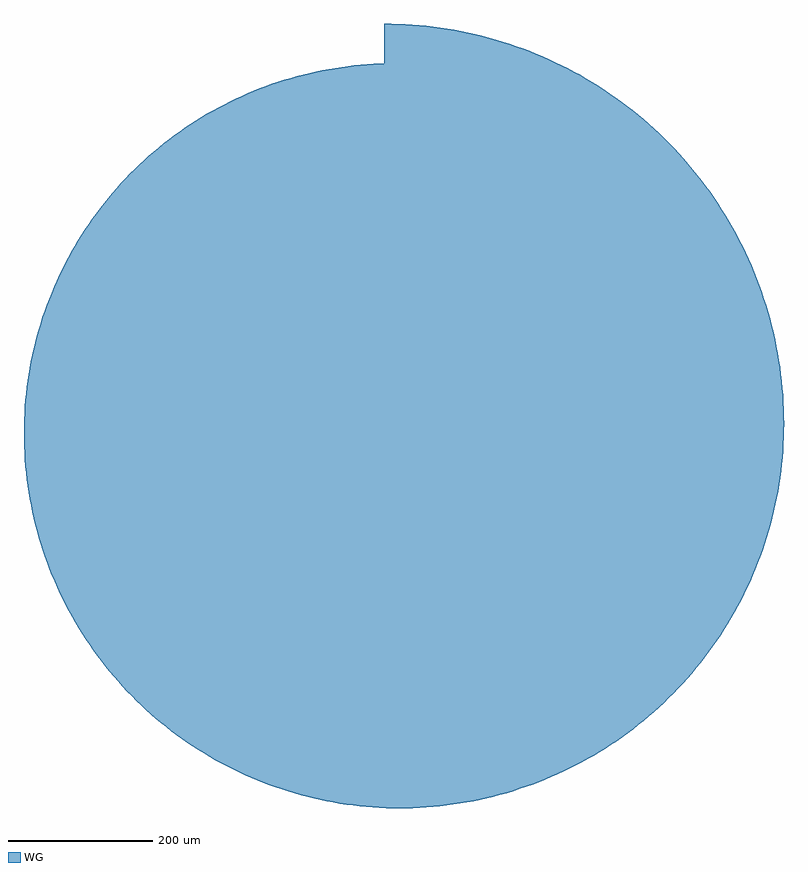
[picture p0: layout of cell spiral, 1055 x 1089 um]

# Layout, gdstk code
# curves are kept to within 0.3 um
from math import pi, radians
import gdstk
lib = gdstk.Library(unit=1e-6, precision=1e-09)
def P(c, l, *ps):  # polygons
    for p in ps: c.add(gdstk.Polygon(p, *l))
WG = (1, 0)

bend_circular_w1000_r100 = lib.new_cell('bend_circular_W1000_R1000_LWG_ENone_A90_AS1')
P(bend_circular_w1000_r100, WG, [(0,-500),(0,1),(-499,1),(-498.301,27.409),(-496.205,53.744),(-492.718,79.931),(-489.625,97.27),(-485.923,114.49),(-479.236,140.047),(-471.205,165.215),(-461.854,189.923),(-454.899,206.105),(-443.407,229.892),(-430.671,253.038),(-416.729,275.477),(-401.619,297.148),(-385.383,317.988),(-368.067,337.939),(-355.946,350.719),(-336.939,369.067),(-316.988,386.383),(-296.148,402.619),(-281.789,412.82),(-259.599,427.156),(-236.682,440.298),(-221.031,448.377),(-197.045,459.448),(-172.506,469.234),(-147.484,477.707),(-130.568,482.615),(-104.896,488.85),(-78.931,493.718),(-52.744,497.205),(-26.409,499.301),(0,500),(0,1),(501,1),(500.298,-25.515),(498.194,-51.955),(494.693,-78.247),(491.588,-95.656),(485.784,-121.537),(478.618,-147.075),(473.094,-163.874),(463.705,-188.68),(453.017,-212.955),(441.059,-236.631),(432.398,-252.048),(418.399,-274.578),(408.413,-289.172),(392.484,-310.38),(375.455,-330.715),(357.373,-350.121),(338.29,-368.542),(318.258,-385.927),(304.405,-396.918),(282.919,-412.471),(260.64,-426.864),(237.631,-440.059),(213.955,-452.017),(189.68,-462.705),(164.874,-472.094),(148.075,-477.618),(122.537,-484.784),(96.656,-490.588),(79.247,-493.693),(52.955,-497.194),(26.515,-499.298)])

bend_circular_w1000_r200 = lib.new_cell('bend_circular_W1000_R2000_LWG_ENone_A90_AS1')
P(bend_circular_w1000_r200, WG, [(0,-500),(0,2),(-498,2),(-497.69,19.575),(-496.062,45.89),(-493.044,72.082),(-488.644,98.077),(-482.875,123.803),(-475.752,149.188),(-470.261,165.886),(-460.928,190.544),(-450.304,214.674),(-438.418,238.208),(-425.302,261.079),(-415.894,275.927),(-405.968,290.434),(-390.134,311.515),(-373.206,331.729),(-355.233,351.018),(-336.264,369.329),(-323.091,380.967),(-302.582,397.535),(-281.225,412.995),(-259.079,427.302),(-236.208,440.418),(-220.588,448.481),(-196.65,459.529),(-172.16,469.295),(-147.188,477.752),(-121.803,484.875),(-104.686,488.873),(-78.772,493.731),(-52.638,497.21),(-26.356,499.302),(0,500),(0,2),(502,2),(501.687,-15.716),(500.047,-42.243),(497.004,-68.645),(492.569,-94.849),(486.753,-120.782),(482.117,-137.883),(474.038,-163.203),(464.631,-188.059),(453.921,-212.382),(441.939,-236.105),(433.261,-251.553),(419.234,-274.128),(404.033,-295.928),(387.7,-316.893),(376.204,-330.377),(358.086,-349.821),(338.965,-368.279),(318.893,-385.7),(297.928,-402.033),(283.483,-412.296),(261.16,-426.718),(238.105,-439.939),(214.382,-451.921),(190.059,-462.631),(165.203,-472.038),(139.883,-480.117),(122.782,-484.753),(96.849,-490.569),(70.645,-495.004),(44.243,-498.047),(17.716,-499.687)])

bend_circular_w1000_r300 = lib.new_cell('bend_circular_W1000_R3000_LWG_ENone_A90_AS1')
P(bend_circular_w1000_r300, WG, [(0,-500),(0,3),(-497,3),(-496.303,29.303),(-494.216,55.532),(-492.054,72.941),(-487.663,98.884),(-481.905,124.559),(-477.315,141.49),(-469.317,166.557),(-460.003,191.166),(-453.076,207.283),(-441.629,230.975),(-428.945,254.028),(-415.059,276.377),(-400.009,297.961),(-389.35,311.894),(-372.457,332.067),(-354.52,351.317),(-335.589,369.591),(-315.717,386.838),(-294.961,403.009),(-273.377,418.059),(-251.028,431.945),(-227.975,444.629),(-204.283,456.076),(-188.166,463.003),(-163.557,472.317),(-138.49,480.315),(-121.559,484.905),(-95.884,490.663),(-69.941,495.054),(-52.532,497.216),(-26.303,499.303),(0,500),(0,3),(503,3),(502.687,-14.752),(501.043,-41.331),(497.994,-67.785),(493.55,-94.042),(487.723,-120.026),(483.077,-137.162),(474.982,-162.532),(465.556,-187.437),(458.545,-203.749),(446.961,-227.727),(434.124,-251.058),(420.07,-273.678),(410.044,-288.33),(394.051,-309.623),(376.953,-330.039),(358.8,-349.522),(339.64,-368.017),(319.529,-385.472),(305.62,-396.507),(284.048,-412.121),(269.221,-421.887),(246.357,-435.54),(222.803,-447.963),(198.624,-459.123),(182.191,-465.845),(157.123,-474.83),(131.615,-482.476),(105.737,-488.761),(79.563,-493.668),(53.166,-497.182),(26.62,-499.295)])

bend_circular_w1000_r500 = lib.new_cell('bend_circular_W1000_R5000_LWG_ENone_A90_AS1')
P(bend_circular_w1000_r500, WG, [(0,-500),(0,5),(-495,5),(-494.692,22.469),(-493.074,48.626),(-490.074,74.66),(-485.701,100.498),(-479.966,126.07),(-472.886,151.301),(-467.428,167.899),(-458.152,192.409),(-447.591,216.393),(-435.776,239.785),(-427.219,255.018),(-413.389,277.277),(-398.399,298.774),(-382.294,319.447),(-365.116,339.238),(-353.093,351.915),(-334.238,370.116),(-314.447,387.294),(-300.759,398.153),(-279.531,413.519),(-257.519,427.74),(-234.785,440.776),(-211.393,452.591),(-187.409,463.152),(-162.899,472.428),(-146.301,477.886),(-121.07,484.966),(-95.498,490.701),(-69.66,495.074),(-43.626,498.074),(-17.469,499.692),(0,500),(0,5),(505,5),(504.292,-21.726),(503.035,-39.507),(499.974,-66.067),(495.513,-92.428),(489.662,-118.515),(482.439,-144.257),(473.864,-169.58),(467.407,-186.195),(456.634,-210.664),(444.58,-234.528),(435.85,-250.069),(421.74,-272.778),(411.674,-287.489),(395.618,-308.866),(378.452,-329.363),(360.226,-348.924),(340.99,-367.492),(320.799,-385.017),(306.835,-396.095),(285.178,-411.772),(262.721,-426.28),(239.528,-439.58),(215.664,-451.634),(191.195,-462.407),(174.58,-468.864),(149.257,-477.439),(123.515,-484.662),(97.428,-490.513),(71.067,-494.974),(44.507,-498.035),(26.726,-499.292)])

bend_circular_w1000_r800 = lib.new_cell('bend_circular_W1000_R8000_LWG_ENone_A90_AS1')
P(bend_circular_w1000_r800, WG, [(0,-500),(0,8),(-492,8),(-491.694,25.363),(-490.086,51.361),(-487.104,77.237),(-482.757,102.92),(-477.057,128.336),(-470.02,153.415),(-464.595,169.912),(-455.375,194.273),(-444.879,218.112),(-433.135,241.362),(-420.178,263.958),(-410.883,278.627),(-395.985,299.993),(-379.977,320.541),(-362.903,340.213),(-350.953,352.813),(-332.213,370.903),(-312.541,387.977),(-291.993,403.985),(-277.836,414.043),(-255.958,428.178),(-240.97,436.949),(-217.93,449.101),(-194.28,460.017),(-170.086,469.665),(-145.415,478.02),(-120.336,485.057),(-103.425,489.007),(-77.823,493.806),(-52.004,497.244),(-26.038,499.31),(0,500),(0,8),(508,8),(507.288,-18.885),(505.154,-45.695),(501.605,-72.354),(498.456,-90.006),(492.571,-116.249),(485.305,-142.144),(476.679,-167.617),(470.184,-184.33),(459.346,-208.945),(451.404,-225.021),(438.439,-248.584),(424.245,-271.428),(408.862,-293.489),(392.334,-314.705),(374.705,-335.016),(362.366,-348.026),(343.016,-366.705),(322.705,-384.334),(308.658,-395.478),(286.872,-411.248),(264.282,-425.842),(240.951,-439.221),(216.945,-451.346),(192.33,-462.184),(175.617,-468.679),(150.144,-477.305),(124.249,-484.571),(98.006,-490.456),(80.354,-493.605),(53.695,-497.154),(26.885,-499.288)])

bend_circular_w1000_r130 = lib.new_cell('bend_circular_W1000_R13000_LWG_ENone_A90_AS1')
P(bend_circular_w1000_r130, WG, [(0,-500),(0,13),(-487,13),(-486.318,38.774),(-485.105,55.921),(-482.154,81.534),(-477.851,106.955),(-472.209,132.113),(-467.711,148.704),(-459.874,173.266),(-450.747,197.38),(-440.358,220.976),(-428.734,243.99),(-420.315,258.977),(-406.708,280.877),(-391.961,302.026),(-376.115,322.365),(-364.963,335.446),(-347.386,354.309),(-328.836,372.215),(-309.365,389.115),(-289.026,404.961),(-275.013,414.917),(-253.357,428.908),(-230.99,441.734),(-215.716,449.619),(-192.306,460.423),(-168.357,469.974),(-143.937,478.243),(-119.113,485.209),(-93.955,490.851),(-68.534,495.154),(-42.921,498.105),(-25.774,499.318),(0,500),(0,13),(513,13),(512.281,-14.15),(511.004,-32.212),(507.895,-59.193),(503.362,-85.971),(497.419,-112.472),(490.082,-138.621),(484.425,-155.823),(474.812,-181.223),(467.662,-197.859),(455.847,-222.314),(442.754,-246.109),(428.421,-269.178),(418.196,-284.122),(401.885,-305.838),(384.448,-326.66),(365.933,-346.531),(346.392,-365.393),(325.881,-383.195),(304.456,-399.887),(282.178,-415.421),(259.109,-429.754),(235.314,-442.847),(210.859,-454.662),(194.223,-461.812),(168.823,-471.425),(151.621,-477.082),(125.472,-484.419),(98.971,-490.362),(72.193,-494.895),(45.212,-498.004),(27.15,-499.281)])

bend_circular_w1000_r210 = lib.new_cell('bend_circular_W1000_R21000_LWG_ENone_A90_AS1')
P(bend_circular_w1000_r210, WG, [(0,-500),(0,21),(-479,21),(-478.329,46.35),(-476.317,71.63),(-472.97,96.767),(-470.001,113.412),(-464.452,138.156),(-457.601,162.572),(-449.467,186.592),(-443.343,202.351),(-433.124,225.56),(-421.691,248.196),(-409.076,270.195),(-400.027,284.476),(-385.522,305.278),(-369.937,325.283),(-358.968,338.149),(-341.68,356.702),(-323.435,374.314),(-304.283,390.937),(-284.278,406.522),(-263.476,421.027),(-249.195,430.076),(-227.196,442.691),(-204.56,454.124),(-181.351,464.343),(-165.592,470.467),(-141.572,478.601),(-117.156,485.452),(-92.412,491.001),(-75.767,493.97),(-50.63,497.317),(-25.35,499.329),(0,500),(0,21),(521,21),(520.27,-6.573),(518.973,-24.917),(515.815,-52.319),(511.212,-79.514),(505.176,-106.429),(497.724,-132.986),(491.98,-150.455),(482.216,-176.252),(474.955,-193.148),(462.956,-217.984),(449.659,-242.15),(435.102,-265.579),(419.325,-288.204),(402.374,-309.963),(390.443,-323.957),(371.639,-344.137),(351.794,-363.294),(330.963,-381.374),(309.204,-398.325),(294.213,-408.976),(271.045,-423.945),(247.117,-437.666),(230.776,-446.101),(205.732,-457.66),(180.111,-467.877),(162.746,-473.929),(136.324,-481.849),(109.521,-488.359),(82.41,-493.441),(55.069,-497.081),(27.573,-499.27)])

bend_circular_w1000_r340 = lib.new_cell('bend_circular_W1000_R34000_LWG_ENone_A90_AS1')
P(bend_circular_w1000_r340, WG, [(0,-500),(0,34),(-466,34),(-465.347,58.662),(-463.39,83.256),(-461.363,99.579),(-457.245,123.904),(-451.847,147.977),(-447.543,163.852),(-440.043,187.355),(-431.311,210.429),(-421.369,233.008),(-410.246,255.03),(-397.974,276.432),(-389.17,290.326),(-375.059,310.563),(-365.065,323.627),(-349.225,342.541),(-332.407,360.591),(-314.657,377.726),(-296.024,393.897),(-276.563,409.059),(-263.154,418.585),(-242.432,431.974),(-221.03,444.246),(-206.414,451.791),(-184.014,462.13),(-161.098,471.268),(-137.73,479.181),(-113.977,485.847),(-97.959,489.588),(-73.711,494.133),(-49.256,497.39),(-24.662,499.347),(0,500),(0,34),(534,34),(533.252,5.739),(531.009,-22.443),(528.686,-41.148),(523.968,-69.023),(517.781,-96.608),(510.143,-123.828),(504.256,-141.733),(494.249,-168.174),(486.806,-185.491),(474.507,-210.947),(460.879,-235.716),(445.959,-259.729),(429.788,-282.919),(412.414,-305.221),(400.185,-319.565),(380.912,-340.248),(360.572,-359.883),(339.221,-378.414),(316.919,-395.788),(293.729,-411.959),(269.716,-426.879),(244.947,-440.507),(219.491,-452.806),(202.174,-460.249),(175.733,-470.256),(157.828,-476.143),(130.608,-483.781),(103.023,-489.968),(75.148,-494.686),(56.443,-497.009),(28.261,-499.252)])

bend_circular_w1000_r550 = lib.new_cell('bend_circular_W1000_R55000_LWG_ENone_A90_AS1')
P(bend_circular_w1000_r550, WG, [(0,-500),(0,55),(-445,55),(-444.376,78.551),(-442.507,102.036),(-440.572,117.623),(-436.64,140.852),(-431.484,163.84),(-425.12,186.523),(-420.213,201.445),(-411.874,223.478),(-402.38,245.04),(-391.759,266.069),(-380.039,286.507),(-371.632,299.774),(-358.157,319.099),(-343.678,337.684),(-328.236,355.477),(-317.427,366.873),(-306.223,377.882),(-288.706,393.636),(-270.379,408.44),(-251.295,422.254),(-231.507,435.039),(-211.069,446.759),(-190.04,457.38),(-168.478,466.874),(-146.445,475.213),(-131.523,480.12),(-108.84,486.484),(-85.852,491.64),(-62.623,495.572),(-47.036,497.507),(-23.551,499.376),(0,500),(0,55),(555,55),(554.222,25.627),(551.891,-3.663),(548.013,-32.788),(544.573,-52.074),(540.455,-71.226),(533.018,-99.652),(524.086,-127.644),(513.685,-155.125),(505.95,-173.123),(493.168,-199.58),(479.003,-225.323),(463.496,-250.281),(452.434,-266.448),(434.788,-289.942),(415.923,-312.469),(395.892,-333.966),(374.752,-354.373),(360.071,-367.343),(337.215,-385.808),(313.413,-403.036),(288.733,-418.981),(263.244,-433.598),(245.836,-442.584),(219.158,-454.897),(201.026,-462.314),(173.367,-472.228),(145.221,-480.664),(116.668,-487.599),(87.788,-493.013),(58.663,-496.891),(29.373,-499.222)])

spiral = lib.new_cell('spiral')
spiral.add(gdstk.Reference(bend_circular_w1000_r100, (0,0)))
spiral.add(gdstk.Reference(bend_circular_w1000_r100, (1,1), rotation=pi/2))
spiral.add(gdstk.Reference(bend_circular_w1000_r200, (0,2), rotation=pi))
spiral.add(gdstk.Reference(bend_circular_w1000_r300, (-2,0), rotation=3*pi/2))
spiral.add(gdstk.Reference(bend_circular_w1000_r500, (1,-3)))
spiral.add(gdstk.Reference(bend_circular_w1000_r800, (6,2), rotation=pi/2))
spiral.add(gdstk.Reference(bend_circular_w1000_r130, (-2,10), rotation=pi))
spiral.add(gdstk.Reference(bend_circular_w1000_r210, (-15,-3), rotation=3*pi/2))
spiral.add(gdstk.Reference(bend_circular_w1000_r340, (6,-24)))
spiral.add(gdstk.Reference(bend_circular_w1000_r550, (40,10), rotation=pi/2))

lib.write_gds('spiral.gds')
